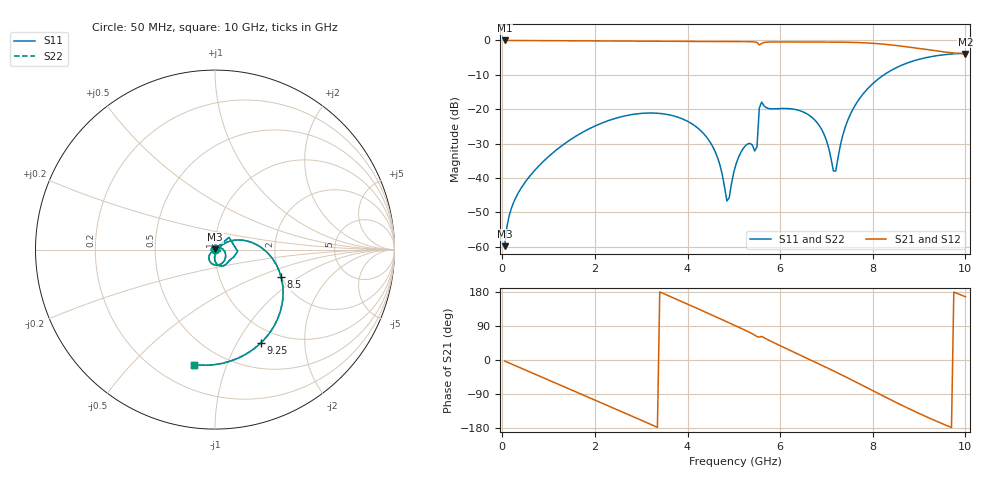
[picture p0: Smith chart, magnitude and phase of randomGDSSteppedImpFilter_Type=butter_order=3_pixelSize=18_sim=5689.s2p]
! freq	dB(S11)	phase(S11)	dB(S12)	phase(S12)
!  dB(S21)	phase(S21)	dB(S22)	phase(S22)
!S-par simulation data
#  GHz  S  DB  R 50
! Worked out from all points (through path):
!   200 points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, 50 MHz to 10 GHz, reference 50 ohm
!   highest |S21| = -0.01 dB at 50 MHz (marker M1); lowest = -4.0 dB at 10 GHz (marker M2)
!   group delay of S21, straight-line fit = 155 ps
!   lowest |S11| = -59.9 dB at 50 MHz (marker M3), VSWR 1.00, Z = 50 + j0.0997 ohm
!   |S11| at or under -10 dB: start of sweep to 8.243 GHz
!   |S22| runs from -59.9 to -3.7 dB; largest |S21 - S12| = 0
!   S11 on the Smith chart (normalised r, x): 50 MHz: 1.00, +0.00; 8.5 GHz: 1.99, -0.72; 9.25 GHz: 0.81, -1.26; 10 GHz: 0.35, -0.77
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0.05  -59.88 79.3  -0.01 -2.7  -0.01 -2.7  -59.88 79.3
0.2  -48.70 71.5  -0.02 -10.6  -0.02 -10.6  -48.70 71.5
0.45  -42.09 61.9  -0.03 -23.8  -0.03 -23.8  -42.09 61.9
1.15  -32.07 30.4  -0.07 -60.8  -0.07 -60.8  -32.07 30.3
1.75  -26.61 -0.7  -0.12 -92.5  -0.12 -92.5  -26.61 -0.7
2.65  -21.96 -48.4  -0.19 -140.3  -0.19 -140.3  -21.96 -48.4
3.4  -21.24 -87.8  -0.26 179.7  -0.26 179.7  -21.24 -87.8
4.4  -27.96 -137.4  -0.30 125.6  -0.30 125.6  -27.96 -137.4
4.65  -34.16 -144.3  -0.31 111.9  -0.31 111.9  -34.16 -144.2
4.85  -46.72 -97.0  -0.32 100.8  -0.32 100.8  -46.66 -96.8
5.05  -35.89 -13.5  -0.33 89.6  -0.33 89.6  -35.88 -13.7
5.25  -30.65 -16.3  -0.34 78.2  -0.34 78.2  -30.65 -16.4
5.5  -30.93 45.1  -0.61 61.8  -0.61 61.8  -30.92 45.0
5.55  -19.70 40.9  -1.30 60.3  -1.30 60.3  -19.70 40.8
5.6  -17.93 -4.4  -0.89 62.2  -0.89 62.2  -17.93 -4.5
6.7  -22.55 -85.8  -0.46 -2.2  -0.46 -2.2  -22.55 -85.8
7.2  -38.02 -9.2  -0.48 -31.6  -0.48 -31.6  -37.99 -9.4
7.55  -20.58 29.7  -0.56 -52.9  -0.56 -52.9  -20.58 29.6
8.35  -9.08 -13.8  -1.24 -102.6  -1.24 -102.6  -9.08 -13.9
8.5  -7.98 -22.5  -1.46 -111.8  -1.46 -111.8  -7.98 -22.6
9.25  -4.74 -63.8  -2.82 -154.8  -2.82 -154.8  -4.74 -63.9
10  -3.71 -100.5  -3.97 166.9  -3.97 166.9  -3.72 -100.6
